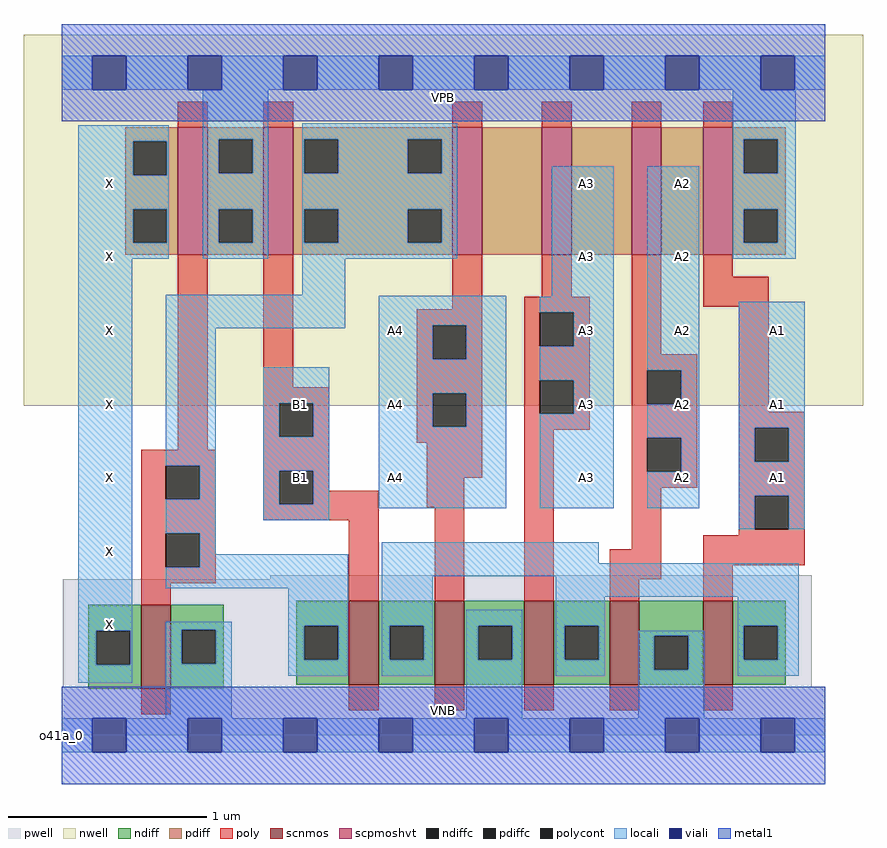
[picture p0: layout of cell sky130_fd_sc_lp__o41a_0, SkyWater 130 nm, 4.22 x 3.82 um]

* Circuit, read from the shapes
.subckt sky130_fd_sc_lp__o41a_0 A1 A2 A3 A4 B1 VGND VNB VPB VPWR X
XM1 VGND n1 X VNB sky130_fd_pr__nfet_01v8 w=0.42 l=0.15
XM2 n2 B1 n1 VNB sky130_fd_pr__nfet_01v8 w=0.42 l=0.15
XM3 VGND A4 n2 VNB sky130_fd_pr__nfet_01v8 w=0.42 l=0.15
XM4 n2 A3 VGND VNB sky130_fd_pr__nfet_01v8 w=0.42 l=0.15
XM5 VGND A2 n2 VNB sky130_fd_pr__nfet_01v8 w=0.42 l=0.15
XM6 n2 A1 VGND VNB sky130_fd_pr__nfet_01v8 w=0.42 l=0.15
XM7 VPWR n1 X VPB sky130_fd_pr__pfet_01v8_hvt w=0.64 l=0.15
XM8 n1 B1 VPWR VPB sky130_fd_pr__pfet_01v8_hvt w=0.64 l=0.15
XM9 n3 A4 n1 VPB sky130_fd_pr__pfet_01v8_hvt w=0.64 l=0.15
XM10 n4 A3 n3 VPB sky130_fd_pr__pfet_01v8_hvt w=0.64 l=0.15
XM11 n5 A2 n4 VPB sky130_fd_pr__pfet_01v8_hvt w=0.64 l=0.15
XM12 VPWR A1 n5 VPB sky130_fd_pr__pfet_01v8_hvt w=0.64 l=0.15
.ends

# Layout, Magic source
magic
tech sky130A
magscale 1 2
<< nwell >>
rect -38 331 806 704
<< pwell >>
rect 210 157 754 161
rect 1 49 754 157
rect 0 0 768 49
<< scnmos >>
rect 80 47 110 131
rect 289 51 319 135
rect 375 51 405 135
rect 465 51 495 135
rect 551 51 581 135
rect 645 51 675 135
<< scpmoshvt >>
rect 117 483 147 611
rect 203 483 233 611
rect 393 483 423 611
rect 483 483 513 611
rect 573 483 603 611
rect 645 483 675 611
<< ndiff >>
rect 27 105 80 131
rect 27 71 35 105
rect 69 71 80 105
rect 27 47 80 71
rect 110 106 163 131
rect 110 72 121 106
rect 155 72 163 106
rect 110 47 163 72
rect 236 110 289 135
rect 236 76 244 110
rect 278 76 289 110
rect 236 51 289 76
rect 319 110 375 135
rect 319 76 330 110
rect 364 76 375 110
rect 319 51 375 76
rect 405 110 465 135
rect 405 76 419 110
rect 453 76 465 110
rect 405 51 465 76
rect 495 110 551 135
rect 495 76 506 110
rect 540 76 551 110
rect 495 51 551 76
rect 581 100 645 135
rect 581 66 596 100
rect 630 66 645 100
rect 581 51 645 66
rect 675 110 728 135
rect 675 76 686 110
rect 720 76 728 110
rect 675 51 728 76
<< pdiff >>
rect 64 597 117 611
rect 64 563 72 597
rect 106 563 117 597
rect 64 529 117 563
rect 64 495 72 529
rect 106 495 117 529
rect 64 483 117 495
rect 147 599 203 611
rect 147 565 158 599
rect 192 565 203 599
rect 147 529 203 565
rect 147 495 158 529
rect 192 495 203 529
rect 147 483 203 495
rect 233 599 393 611
rect 233 565 244 599
rect 278 565 348 599
rect 382 565 393 599
rect 233 529 393 565
rect 233 495 244 529
rect 278 495 348 529
rect 382 495 393 529
rect 233 483 393 495
rect 423 483 483 611
rect 513 483 573 611
rect 603 483 645 611
rect 675 599 728 611
rect 675 565 686 599
rect 720 565 728 599
rect 675 529 728 565
rect 675 495 686 529
rect 720 495 728 529
rect 675 483 728 495
<< ndiffc >>
rect 35 71 69 105
rect 121 72 155 106
rect 244 76 278 110
rect 330 76 364 110
rect 419 76 453 110
rect 506 76 540 110
rect 596 66 630 100
rect 686 76 720 110
<< pdiffc >>
rect 72 563 106 597
rect 72 495 106 529
rect 158 565 192 599
rect 158 495 192 529
rect 244 565 278 599
rect 348 565 382 599
rect 244 495 278 529
rect 348 495 382 529
rect 686 565 720 599
rect 686 495 720 529
<< poly >>
rect 117 611 147 637
rect 203 611 233 637
rect 393 611 423 637
rect 483 611 513 637
rect 573 611 603 637
rect 645 611 675 637
rect 117 287 147 483
rect 203 350 233 483
rect 393 428 423 483
rect 483 441 513 483
rect 357 412 423 428
rect 357 378 373 412
rect 407 378 423 412
rect 203 334 269 350
rect 203 300 219 334
rect 253 300 269 334
rect 80 271 155 287
rect 80 237 105 271
rect 139 237 155 271
rect 80 203 155 237
rect 203 266 269 300
rect 357 344 423 378
rect 357 310 373 344
rect 407 310 423 344
rect 357 294 423 310
rect 203 232 219 266
rect 253 246 269 266
rect 367 259 423 294
rect 465 425 531 441
rect 465 391 481 425
rect 515 391 531 425
rect 465 357 531 391
rect 465 323 481 357
rect 515 323 531 357
rect 465 307 531 323
rect 573 383 603 483
rect 645 461 675 483
rect 645 431 711 461
rect 573 367 639 383
rect 573 333 589 367
rect 623 333 639 367
rect 253 232 319 246
rect 203 216 319 232
rect 367 229 405 259
rect 80 169 105 203
rect 139 169 155 203
rect 80 153 155 169
rect 80 131 110 153
rect 289 135 319 216
rect 375 135 405 229
rect 465 135 495 307
rect 573 299 639 333
rect 573 265 589 299
rect 623 265 639 299
rect 573 249 639 265
rect 681 325 711 431
rect 681 309 747 325
rect 681 275 697 309
rect 731 275 747 309
rect 573 187 603 249
rect 681 241 747 275
rect 681 207 697 241
rect 731 207 747 241
rect 681 201 747 207
rect 551 157 603 187
rect 645 171 747 201
rect 551 135 581 157
rect 645 135 675 171
rect 80 21 110 47
rect 289 25 319 51
rect 375 25 405 51
rect 465 25 495 51
rect 551 25 581 51
rect 645 25 675 51
<< polycont >>
rect 373 378 407 412
rect 219 300 253 334
rect 105 237 139 271
rect 373 310 407 344
rect 219 232 253 266
rect 481 391 515 425
rect 481 323 515 357
rect 589 333 623 367
rect 105 169 139 203
rect 589 265 623 299
rect 697 275 731 309
rect 697 207 731 241
<< locali >>
rect 0 649 31 683
rect 65 649 127 683
rect 161 649 223 683
rect 257 649 319 683
rect 353 649 415 683
rect 449 649 511 683
rect 545 649 607 683
rect 641 649 703 683
rect 737 649 768 683
rect 17 597 108 613
rect 17 563 72 597
rect 106 563 108 597
rect 17 529 108 563
rect 17 495 72 529
rect 106 495 108 529
rect 17 479 108 495
rect 142 599 208 649
rect 142 565 158 599
rect 192 565 208 599
rect 142 529 208 565
rect 142 495 158 529
rect 192 495 208 529
rect 142 479 208 495
rect 242 599 398 615
rect 242 565 244 599
rect 278 565 348 599
rect 382 565 398 599
rect 675 599 738 649
rect 242 529 398 565
rect 242 495 244 529
rect 278 495 348 529
rect 382 495 398 529
rect 242 479 398 495
rect 17 105 71 479
rect 242 443 285 479
rect 105 409 285 443
rect 319 412 447 442
rect 493 441 555 572
rect 105 271 155 409
rect 319 378 373 412
rect 407 378 447 412
rect 139 237 155 271
rect 105 203 155 237
rect 203 334 269 370
rect 203 300 219 334
rect 253 300 269 334
rect 203 266 269 300
rect 203 232 219 266
rect 253 232 269 266
rect 203 216 269 232
rect 319 344 447 378
rect 319 310 373 344
rect 407 310 447 344
rect 319 228 447 310
rect 481 425 555 441
rect 515 391 555 425
rect 481 357 555 391
rect 515 323 555 357
rect 481 228 555 323
rect 589 367 641 572
rect 675 565 686 599
rect 720 565 738 599
rect 675 529 738 565
rect 675 495 686 529
rect 720 495 738 529
rect 675 479 738 495
rect 623 333 641 367
rect 589 299 641 333
rect 623 265 641 299
rect 589 228 641 265
rect 681 309 747 436
rect 681 275 697 309
rect 731 275 747 309
rect 681 241 747 275
rect 681 207 697 241
rect 731 207 747 241
rect 139 182 155 203
rect 139 169 288 182
rect 105 148 288 169
rect 17 71 35 105
rect 69 71 71 105
rect 17 53 71 71
rect 105 106 171 114
rect 105 72 121 106
rect 155 72 171 106
rect 105 17 171 72
rect 228 110 288 148
rect 228 76 244 110
rect 278 76 288 110
rect 228 60 288 76
rect 322 173 540 194
rect 322 160 741 173
rect 322 110 373 160
rect 497 139 741 160
rect 322 76 330 110
rect 364 76 373 110
rect 322 60 373 76
rect 407 110 463 126
rect 407 76 419 110
rect 453 76 463 110
rect 407 17 463 76
rect 497 110 546 139
rect 497 76 506 110
rect 540 76 546 110
rect 680 110 741 139
rect 497 60 546 76
rect 580 100 646 105
rect 580 66 596 100
rect 630 66 646 100
rect 580 17 646 66
rect 680 76 686 110
rect 720 76 741 110
rect 680 60 741 76
rect 0 -17 31 17
rect 65 -17 127 17
rect 161 -17 223 17
rect 257 -17 319 17
rect 353 -17 415 17
rect 449 -17 511 17
rect 545 -17 607 17
rect 641 -17 703 17
rect 737 -17 768 17
<< viali >>
rect 31 649 65 683
rect 127 649 161 683
rect 223 649 257 683
rect 319 649 353 683
rect 415 649 449 683
rect 511 649 545 683
rect 607 649 641 683
rect 703 649 737 683
rect 31 -17 65 17
rect 127 -17 161 17
rect 223 -17 257 17
rect 319 -17 353 17
rect 415 -17 449 17
rect 511 -17 545 17
rect 607 -17 641 17
rect 703 -17 737 17
<< metal1 >>
rect 0 683 768 715
rect 0 649 31 683
rect 65 649 127 683
rect 161 649 223 683
rect 257 649 319 683
rect 353 649 415 683
rect 449 649 511 683
rect 545 649 607 683
rect 641 649 703 683
rect 737 649 768 683
rect 0 617 768 649
rect 0 17 768 49
rect 0 -17 31 17
rect 65 -17 127 17
rect 161 -17 223 17
rect 257 -17 319 17
rect 353 -17 415 17
rect 449 -17 511 17
rect 545 -17 607 17
rect 641 -17 703 17
rect 737 -17 768 17
rect 0 -49 768 -17
<< labels >>
flabel pwell s 0 0 768 49 0 FreeSans 200 0 0 0 VNB
port 7 nsew ground bidirectional
flabel nwell s 0 617 768 666 0 FreeSans 200 0 0 0 VPB
port 8 nsew power bidirectional
rlabel comment s 0 0 0 0 4 o41a_0
flabel metal1 s 0 617 768 666 0 FreeSans 340 0 0 0 VPWR
port 9 nsew power bidirectional
flabel metal1 s 0 0 768 49 0 FreeSans 340 0 0 0 VGND
port 6 nsew ground bidirectional
flabel locali s 703 242 737 276 0 FreeSans 340 0 0 0 A1
port 1 nsew signal input
flabel locali s 703 316 737 350 0 FreeSans 340 0 0 0 A1
port 1 nsew signal input
flabel locali s 703 390 737 424 0 FreeSans 340 0 0 0 A1
port 1 nsew signal input
flabel locali s 607 242 641 276 0 FreeSans 340 0 0 0 A2
port 2 nsew signal input
flabel locali s 607 316 641 350 0 FreeSans 340 0 0 0 A2
port 2 nsew signal input
flabel locali s 607 390 641 424 0 FreeSans 340 0 0 0 A2
port 2 nsew signal input
flabel locali s 607 464 641 498 0 FreeSans 340 0 0 0 A2
port 2 nsew signal input
flabel locali s 607 538 641 572 0 FreeSans 340 0 0 0 A2
port 2 nsew signal input
flabel locali s 511 242 545 276 0 FreeSans 340 0 0 0 A3
port 3 nsew signal input
flabel locali s 511 316 545 350 0 FreeSans 340 0 0 0 A3
port 3 nsew signal input
flabel locali s 511 390 545 424 0 FreeSans 340 0 0 0 A3
port 3 nsew signal input
flabel locali s 511 464 545 498 0 FreeSans 340 0 0 0 A3
port 3 nsew signal input
flabel locali s 511 538 545 572 0 FreeSans 340 0 0 0 A3
port 3 nsew signal input
flabel locali s 319 242 353 276 0 FreeSans 340 0 0 0 A4
port 4 nsew signal input
flabel locali s 319 316 353 350 0 FreeSans 340 0 0 0 A4
port 4 nsew signal input
flabel locali s 319 390 353 424 0 FreeSans 340 0 0 0 A4
port 4 nsew signal input
flabel locali s 223 242 257 276 0 FreeSans 340 0 0 0 B1
port 5 nsew signal input
flabel locali s 223 316 257 350 0 FreeSans 340 0 0 0 B1
port 5 nsew signal input
flabel locali s 31 242 65 276 0 FreeSans 340 0 0 0 X
port 10 nsew signal output
flabel locali s 31 316 65 350 0 FreeSans 340 0 0 0 X
port 10 nsew signal output
flabel locali s 31 390 65 424 0 FreeSans 340 0 0 0 X
port 10 nsew signal output
flabel locali s 31 464 65 498 0 FreeSans 340 0 0 0 X
port 10 nsew signal output
flabel locali s 31 538 65 572 0 FreeSans 340 0 0 0 X
port 10 nsew signal output
flabel locali s 31 94 65 128 0 FreeSans 340 0 0 0 X
port 10 nsew signal output
flabel locali s 31 168 65 202 0 FreeSans 340 0 0 0 X
port 10 nsew signal output
<< properties >>
string LEFsite unit
string LEFclass CORE
string FIXED_BBOX 0 0 768 666
string GDS_FILE $PDKPATH/libs.ref/sky130_fd_sc_lp/gds/sky130_fd_sc_lp.gds
string LEFsymmetry X Y R90
string GDS_END 362706
string GDS_START 353208
<< end >>
